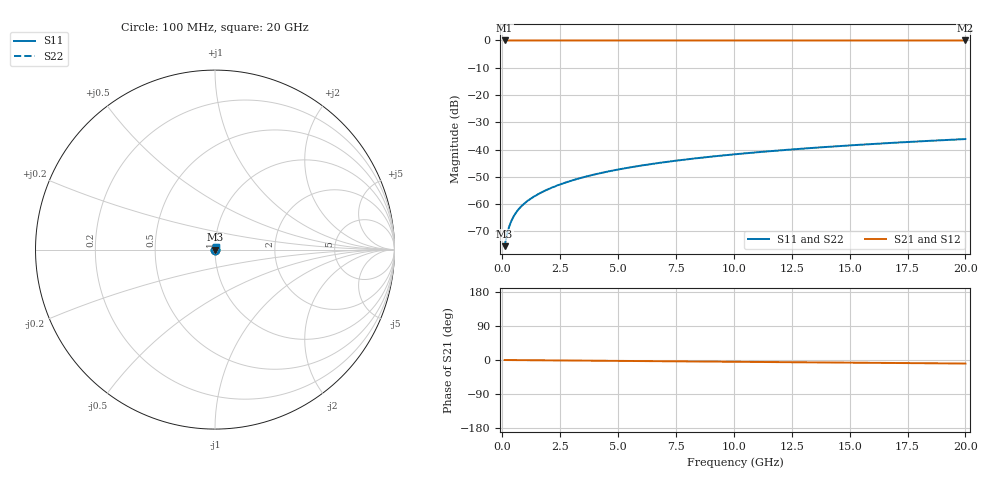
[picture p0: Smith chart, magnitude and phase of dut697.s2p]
! Touchstone file exported from HFSS 2026.1.0
!  File:  C:/ffzhzh/LocalFiles/Ansys_Project_Files/temp_train_TSV_697_1783027791_53980.aedt
!  Generated:  05:32:04 AM Jul  3, 2026
!  Design:  TSV
!  Project:  temp_train_TSV_697_1783027791_53980
! Variables:
!  h_bsmrdl = 2um
!  h_ox = 20um
!  h_rdl = 5um
!  h_sub = 92.87um
!  h_tmrdl = 5um
!  h_tsv = 92.87um
!  h_via = 3um
!  l_bsmrdl = 300um
!  l_sub = 422.86um
!  l_tmrdl = 200um
!  m_sub = 200um
!  pitch = 51.27um
!  r_tsv = 11.43um
!  s_tmrdl = 10um
!  w_bsmrdl = 18um
!  w_sub = 500um
!  w_tmrdl = 12um
!  x_tsv_center1 = 206um
!  x_tsv_center2 = 524um
!  x_tsv_center3 = 736um
!  x_tsv_center4 = 1054um
!  x_tsv_center5 = 1266um
!  x_tsv_center6 = 1584um
# GHz S MA R 50.000000
! Terminal data exported
! Port[1] = TSV1_1_T1
! Port[2] = TSV1_1_T2
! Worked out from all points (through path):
!   200 points, 100 MHz to 20 GHz, reference 50 ohm
!   highest |S21| = 0.00 dB at 100 MHz (marker M1); lowest = 0.0 dB at 20 GHz (marker M2)
!   group delay of S21, straight-line fit = 1.29 ps
!   lowest |S11| = -75.4 dB at 100 MHz (marker M3), VSWR 1.00, Z = 50 + j0.0124 ohm
!   |S11| at or under -10 dB: start of sweep to end of sweep
!   |S22| runs from -75.4 to -36.1 dB; largest |S21 - S12| = 5.9e-15
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0.1  0.0001696 47.2  0.9999 -0.0  0.9999 -0.0  0.0001696 47.2
! Gamma 0 0 0 0
! Port Impedance 50 0 50 0
0.2  0.0002774 62.3  0.9999 -0.1  0.9999 -0.1  0.0002774 62.3
0.3  0.0003909 67.6  0.9999 -0.1  0.9999 -0.1  0.0003909 67.6
0.4  0.0005013 69.7  0.9998 -0.2  0.9998 -0.2  0.0005013 69.7
0.5  0.0006065 70.7  0.9998 -0.2  0.9998 -0.2  0.0006065 70.7
0.6  0.0007065 71.3  0.9998 -0.3  0.9998 -0.3  0.0007065 71.3
0.7  0.0008017 71.7  0.9998 -0.3  0.9998 -0.3  0.0008017 71.7
0.9  0.0009815 72.4  0.9997 -0.4  0.9997 -0.4  0.0009815 72.4
1.1  0.001152 73.1  0.9997 -0.5  0.9997 -0.5  0.001152 73.1
1.3  0.001319 73.9  0.9996 -0.6  0.9996 -0.6  0.001319 73.9
1.6  0.001565 74.9  0.9996 -0.8  0.9996 -0.8  0.001565 74.9
1.9  0.00181 75.8  0.9996 -0.9  0.9996 -0.9  0.00181 75.8
2.6  0.00238 77.3  0.9995 -1.2  0.9995 -1.2  0.00238 77.3
3.5  0.00311 78.3  0.9995 -1.6  0.9995 -1.6  0.00311 78.3
4.2  0.003672 78.8  0.9994 -2.0  0.9994 -2.0  0.003672 78.8
5  0.004307 79.0  0.9993 -2.3  0.9993 -2.3  0.004307 79.0
6.8  0.005713 79.2  0.9992 -3.2  0.9992 -3.2  0.005713 79.2
8.3  0.006867 79.1  0.9991 -3.9  0.9991 -3.9  0.006867 79.1
10.1  0.008239 78.8  0.999 -4.7  0.999 -4.7  0.008239 78.8
13.4  0.01073 78.1  0.9989 -6.3  0.9989 -6.3  0.01073 78.1
16.7  0.01318 77.0  0.9987 -7.8  0.9987 -7.8  0.01318 77.1
20  0.01558 75.9  0.9986 -9.3  0.9986 -9.3  0.01558 75.9
